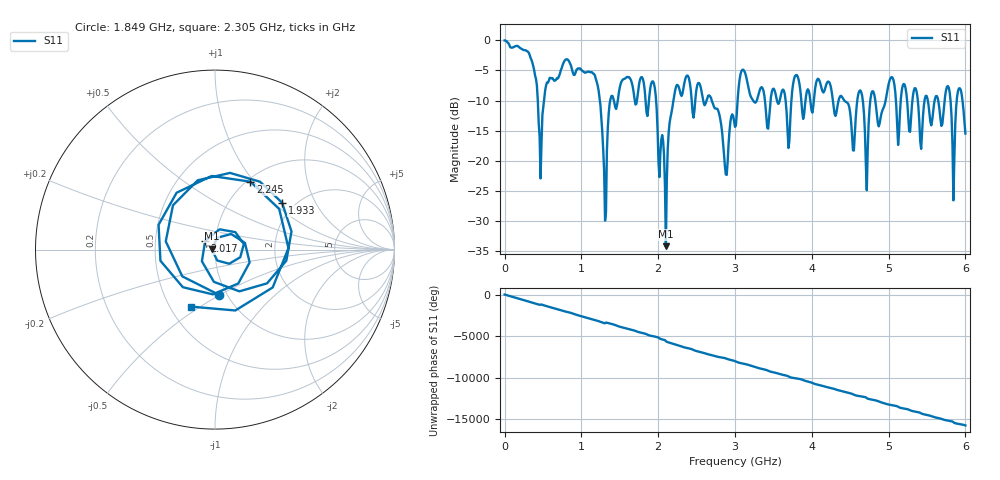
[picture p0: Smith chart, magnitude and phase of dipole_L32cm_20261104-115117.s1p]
! Dipole length 32 cm, measured 20261104-115117
# GHZ S RI R 50.000000000000
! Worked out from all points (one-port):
!   501 points, 1 MHz to 6 GHz, reference 50 ohm
!   lowest |S11| = -34.1 dB at 2.101 GHz (marker M1), VSWR 1.04, Z = 48.1 + j0.459 ohm
!   |S11| at or under -10 dB: 1.973 GHz to 2.199 GHz (225.9 MHz wide, 10.8 % of centre); 2.698 GHz to 3.034 GHz (336.7 MHz wide, 11.7 % of centre); 4.424 GHz to 4.593 GHz (168.9 MHz wide, 3.75 % of centre)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
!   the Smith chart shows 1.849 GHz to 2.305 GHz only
!   S11 on the Smith chart (normalised r, x): 1.849 GHz: 0.91, -0.49; 1.933 GHz: 1.72, +1.13; 2.017 GHz: 0.89, +0.09; 2.245 GHz: 1.04, +0.96; 2.305 GHz: 0.63, -0.46
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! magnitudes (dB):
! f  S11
! 1 MHz  0.0
! 336.9 MHz  -2.8
! 468.9 MHz  -22.9
! 756.9 MHz  -4.1
! 1.189 GHz  -6.4
! 1.309 GHz  -29.9
! 1.381 GHz  -9.7
! 1.501 GHz  -7.8
! 1.849 GHz  -12.0
! 1.933 GHz  -6.8
! 2.017 GHz  -22.7
! 2.101 GHz  -34.1
! 2.245 GHz  -7.4
! 2.257 GHz  -7.5
! 2.305 GHz  -9.2
! 2.677 GHz  -9.3
! 2.881 GHz  -22.2
! 3.001 GHz  -14.4
! 3.096 GHz  -4.9
! 3.696 GHz  -17.9
! 3.756 GHz  -7.3
! 4.5 GHz  -12.0
! 4.644 GHz  -8.6
! 4.716 GHz  -24.9
! 4.788 GHz  -8.5
! 5.04 GHz  -6.1
! 5.256 GHz  -12.7
! 6 GHz  -15.5
